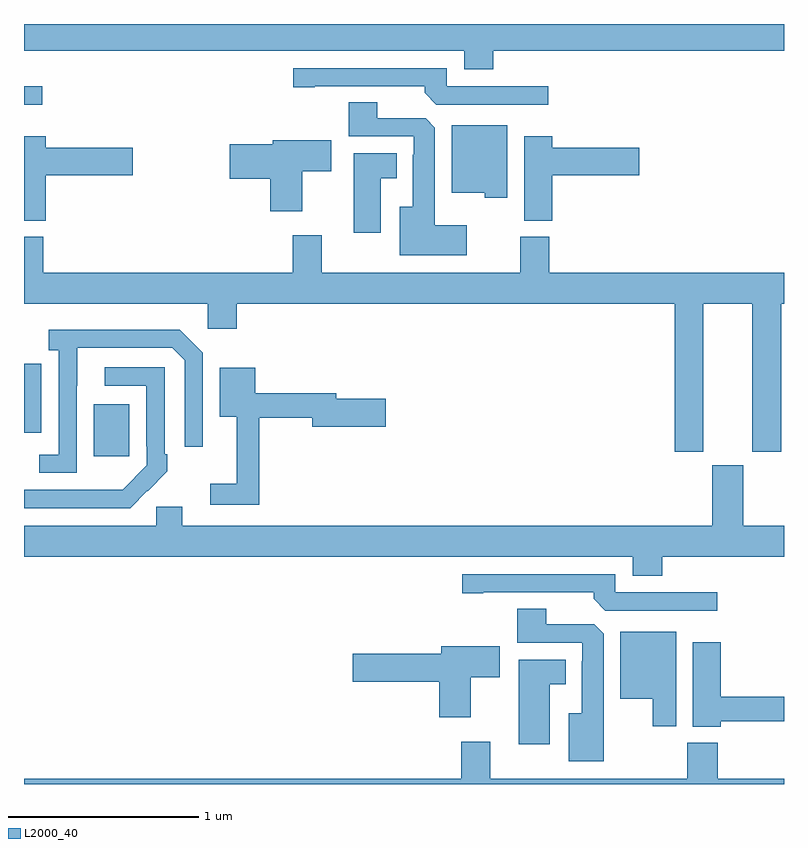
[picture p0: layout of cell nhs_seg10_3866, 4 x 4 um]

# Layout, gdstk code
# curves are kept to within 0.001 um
import gdstk
lib = gdstk.Library(unit=1e-6, precision=1e-09)
def R(c, l, rs):  # rectangles x0, y0, x1, y1
    for r in rs: c.add(gdstk.rectangle(r[:2], r[2:], *l))
def P(c, l, *ps):  # polygons
    for p in ps: c.add(gdstk.Polygon(p, *l))
L2000_40 = (2000, 40)

nhs_seg10_3866 = lib.new_cell('nhs_seg10_3866')
R(nhs_seg10_3866, L2000_40, [(325.367,1254.225,325.555,1254.499), (325,1256.076,325.096,1256.172)])
P(nhs_seg10_3866, L2000_40, [(329,1256.5),(325,1256.5),(325,1256.36),(327.317,1256.36),(327.317,1256.261),(327.47,1256.261),(327.47,1256.36),(329,1256.36)],
  [(327.76,1256.172),(327.225,1256.172),(327.225,1256.268),(326.418,1256.268),(326.418,1256.167),(326.53,1256.167),(326.53,1256.172),(327.11,1256.172),(327.11,1256.138),(327.171,1256.076),(327.76,1256.076)],
  [(327.331,1255.441),(327.163,1255.441),(327.163,1255.955),(327.114,1256.004),(326.86,1256.004),(326.86,1256.087),(326.708,1256.087),(326.708,1255.908),(327.051,1255.908),(327.051,1255.811),(327.047,1255.811),(327.047,1255.537),(326.978,1255.537),(326.978,1255.283),(327.331,1255.283)],
  [(327.544,1255.966),(327.251,1255.966),(327.251,1255.613),(327.426,1255.613),(327.426,1255.586),(327.544,1255.586)],
  [(327.779,1255.703),(328.237,1255.703),(328.237,1255.85),(327.779,1255.85),(327.779,1255.909),(327.632,1255.909),(327.632,1255.465),(327.779,1255.465)],
  [(325.115,1255.703),(325.573,1255.703),(325.573,1255.85),(325.115,1255.85),(325.115,1255.909),(325,1255.909),(325,1255.465),(325.115,1255.465)],
  [(326.464,1255.726),(326.617,1255.726),(326.617,1255.888),(326.309,1255.888),(326.309,1255.868),(326.082,1255.868),(326.082,1255.685),(326.297,1255.685),(326.297,1255.515),(326.464,1255.515)],
  [(326.878,1255.688),(326.962,1255.688),(326.962,1255.819),(326.735,1255.819),(326.735,1255.401),(326.878,1255.401)],
  [(328.576,1255.028),(328.832,1255.028),(328.832,1254.249),(328.985,1254.249),(328.985,1255.028),(329,1255.028),(329,1255.192),(327.764,1255.192),(327.764,1255.38),(327.611,1255.38),(327.611,1255.192),(326.566,1255.192),(326.566,1255.387),(326.414,1255.387),(326.414,1255.192),(325.1,1255.192),(325.1,1255.38),(325,1255.38),(325,1255.028),(325.968,1255.028),(325.968,1254.897),(326.12,1254.897),(326.12,1255.028),(328.424,1255.028),(328.424,1254.249),(328.576,1254.249)],
  [(325.278,1254.595),(325.279,1254.795),(325.779,1254.795),(325.845,1254.729),(325.845,1254.276),(325.941,1254.276),(325.941,1254.771),(325.82,1254.892),(325.131,1254.892),(325.131,1254.782),(325.182,1254.782),(325.182,1254.234),(325.08,1254.234),(325.08,1254.138),(325.278,1254.138)],
  [(325.092,1254.602),(325.091,1254.602),(325.091,1254.711),(325,1254.711),(325,1254.348),(325.092,1254.348)],
  [(325.649,1254.043),(325.65,1254.042),(325.755,1254.147),(325.755,1254.235),(325.74,1254.235),(325.74,1254.693),(325.425,1254.693),(325.425,1254.597),(325.644,1254.597),(325.644,1254.277),(325.647,1254.277),(325.647,1254.177),(325.519,1254.049),(325,1254.048),(325,1253.952),(325.558,1253.952)],
  [(326.237,1254.427),(326.516,1254.427),(326.516,1254.38),(326.905,1254.38),(326.905,1254.527),(326.644,1254.527),(326.644,1254.556),(326.218,1254.556),(326.218,1254.691),(326.03,1254.691),(326.03,1254.434),(326.12,1254.434),(326.12,1254.079),(325.98,1254.079),(325.98,1253.97),(326.237,1253.97)],
  [(328.358,1253.696),(329,1253.696),(329,1253.86),(328.786,1253.86),(328.786,1254.177),(328.622,1254.177),(328.622,1253.86),(325.834,1253.86),(325.834,1253.958),(325.695,1253.958),(325.695,1253.86),(325,1253.86),(325,1253.696),(328.205,1253.696),(328.205,1253.597),(328.358,1253.597)],
  [(328.648,1253.508),(328.113,1253.508),(328.113,1253.604),(327.306,1253.604),(327.306,1253.503),(327.418,1253.503),(327.418,1253.508),(327.998,1253.508),(327.998,1253.474),(328.059,1253.412),(328.648,1253.412)],
  [(328.051,1253.291),(328.002,1253.34),(327.748,1253.34),(327.748,1253.423),(327.596,1253.423),(327.596,1253.244),(327.939,1253.244),(327.939,1253.147),(327.935,1253.147),(327.935,1252.873),(327.866,1252.873),(327.866,1252.619),(328.051,1252.619)],
  [(328.432,1253.302),(328.139,1253.302),(328.139,1252.949),(328.31,1252.949),(328.31,1252.803),(328.432,1252.803)],
  [(328.667,1252.83),(329,1252.83),(329,1252.958),(328.667,1252.958),(328.667,1253.245),(328.52,1253.245),(328.52,1252.802),(328.667,1252.802)],
  [(327.352,1253.062),(327.505,1253.062),(327.505,1253.224),(327.197,1253.224),(327.197,1253.186),(326.73,1253.186),(326.73,1253.039),(327.185,1253.039),(327.185,1252.851),(327.352,1252.851)],
  [(327.766,1253.024),(327.85,1253.024),(327.85,1253.155),(327.605,1253.155),(327.605,1252.71),(327.766,1252.71)],
  [(329,1252.528),(328.652,1252.528),(328.652,1252.717),(328.492,1252.717),(328.492,1252.528),(327.454,1252.528),(327.454,1252.723),(327.302,1252.723),(327.302,1252.528),(325,1252.528),(325,1252.5),(329,1252.5)])

lib.write_gds('nhs_seg10_3866.gds')
